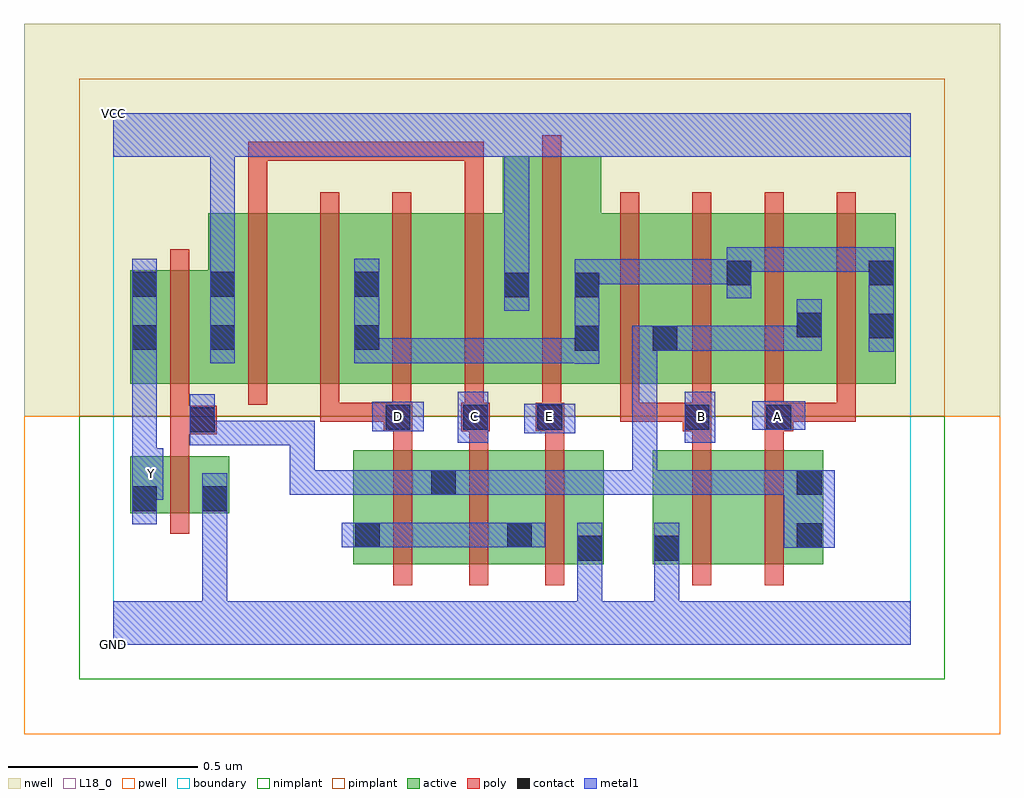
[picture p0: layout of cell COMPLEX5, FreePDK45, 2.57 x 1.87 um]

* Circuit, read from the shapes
.subckt COMPLEX5 A B C D E GND VCC Y
M1 GND n1 Y VSUBS nfet w=0.15u l=0.05u
M2 n1 D n2 VSUBS nfet w=0.3u l=0.05u
M3 n2 C n1 VSUBS nfet w=0.3u l=0.05u
M4 GND E n2 VSUBS nfet w=0.3u l=0.05u
M5 n3 B GND VSUBS nfet w=0.3u l=0.05u
M6 n1 A n3 VSUBS nfet w=0.3u l=0.05u
M7 VCC n1 Y n4 pfet w=0.3u l=0.05u
M8 n5 C VCC n4 pfet w=0.45u l=0.05u
M9 n6 D n5 n4 pfet w=0.45u l=0.05u
M10 n7 D n6 n4 pfet w=0.45u l=0.05u
M11 VCC C n7 n4 pfet w=0.45u l=0.05u
M12 n6 E VCC n4 pfet w=0.6u l=0.05u
M13 n1 B n6 n4 pfet w=0.45u l=0.05u m=2
M14 n1 A n6 n4 pfet w=0.45u l=0.05u m=2
.ends

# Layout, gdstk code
import gdstk
lib = gdstk.Library(unit=1e-6, precision=1e-09)
def R(c, l, rs):  # rectangles x0, y0, x1, y1
    for r in rs: c.add(gdstk.rectangle(r[:2], r[2:], *l))
def A(c, l, x, y, w, h, nx, ny, dx, dy):  # array of equal rectangles
    R(c, l, [(x+i*dx, y+j*dy, x+i*dx+w, y+j*dy+h) for i in range(nx) for j in range(ny)])
active = (1, 0)
pwell = (2, 0)
nwell = (3, 0)
nimplant = (4, 0)
pimplant = (5, 0)
poly = (9, 0)
contact = (10, 0)
metal1 = (11, 0)
L18_0 = (18, 0)
boundary = (235, 0)

complex5 = lib.new_cell('COMPLEX5')
R(complex5, active, [(0.632,0.212,0.907,0.512), (0.832,0.212,1.107,0.512), (1.032,0.212,1.292,0.512), (1.032,0.212,1.107,0.392), (1.217,0.212,1.292,0.512), (1.42,0.212,1.645,0.512), (1.42,0.212,1.495,0.512), (1.645,0.212,1.87,0.512), (0.632,0.247,0.707,0.512), (0.832,0.247,0.907,0.465), (1.795,0.247,1.87,0.512), (0.045,0.347,0.12,0.497), (0.045,0.347,0.305,0.497), (0.23,0.347,0.305,0.497), (0.045,0.687,0.12,0.987), (0.045,0.687,0.325,0.987), (0.25,0.687,0.475,1.137), (0.25,0.687,0.325,1.137), (0.475,0.687,0.705,1.137), (0.63,0.687,0.855,1.137), (0.63,0.687,0.705,1.137), (0.855,0.687,1.1,1.137), (1.025,0.687,1.285,1.287), (1.21,0.687,1.49,1.137), (1.21,0.687,1.285,1.2), (1.415,0.687,1.49,1.07), (1.415,0.687,1.685,1.137), (1.61,0.687,1.87,1.137), (1.795,0.687,2.06,1.137), (1.795,0.687,1.87,1.07), (1.985,0.687,2.06,1.107), (1.025,0.722,1.1,1.107), (1.61,0.857,1.685,1.107)])
R(complex5, pwell, [(-0.235,-0.235,2.335,0.602)])
R(complex5, nwell, [(-0.235,0.602,2.335,1.635)])
R(complex5, nimplant, [(-0.09,-0.09,2.19,0.602)])
R(complex5, pimplant, [(-0.09,0.602,2.19,1.49)])
A(complex5, poly, 0.737, 0.157, 0.05, 0.41, 3, 1, 0.2, 0)
A(complex5, poly, 0.737, 0.517, 0.05, 0.095, 3, 1, 0.2, 0)
A(complex5, poly, 0.545, 0.587, 0.05, 0.095, 3, 1, 0.19, 0)
A(complex5, poly, 1.335, 0.587, 0.05, 0.095, 4, 1, 0.19, 0)
A(complex5, poly, 0.355, 0.632, 0.05, 0.56, 4, 1, 0.19, 0)
A(complex5, poly, 1.335, 0.632, 0.05, 0.56, 4, 1, 0.19, 0)
R(complex5, poly, [(1.525,0.157,1.575,0.567), (1.715,0.157,1.765,0.567), (0.15,0.292,0.2,0.552), (0.15,0.502,0.2,0.605), (1.525,0.517,1.575,0.612), (1.715,0.517,1.765,0.612), (0.15,0.555,0.272,0.63), (0.712,0.562,0.787,0.637), (0.917,0.562,0.992,0.637), (1.112,0.562,1.187,0.637), (1.5,0.562,1.575,0.637), (1.715,0.562,1.79,0.637), (0.15,0.58,0.2,0.682), (0.545,0.587,0.595,0.637), (0.545,0.587,0.762,0.637), (0.712,0.587,0.762,0.637), (0.712,0.587,0.762,0.637), (1.13,0.587,1.18,0.682), (1.335,0.587,1.385,0.637), (1.335,0.587,1.55,0.637), (1.5,0.587,1.55,0.637), (1.5,0.587,1.55,0.637), (1.74,0.587,1.955,0.637), (1.905,0.587,1.955,0.637), (1.905,0.587,1.955,0.637), (1.905,0.587,1.955,0.637), (0.15,0.632,0.2,1.042), (1.13,0.632,1.18,1.342), (0.355,1.142,0.405,1.325), (0.925,1.142,0.975,1.325), (0.355,1.275,0.405,1.325), (0.355,1.275,0.537,1.325), (0.487,1.275,0.537,1.325), (0.487,1.275,0.537,1.325), (0.487,1.275,0.537,1.325), (0.487,1.275,0.835,1.325), (0.785,1.275,0.835,1.325), (0.785,1.275,0.835,1.325), (0.785,1.275,0.835,1.325), (0.785,1.275,0.975,1.325), (0.925,1.275,0.975,1.325), (0.925,1.275,0.975,1.325), (0.925,1.275,0.975,1.325)])
R(complex5, contact, [(1.222,0.222,1.287,0.287), (1.425,0.222,1.49,0.287), (1.8,0.255,1.865,0.32), (0.637,0.257,0.702,0.322), (1.037,0.257,1.102,0.322), (0.05,0.352,0.115,0.417), (0.235,0.352,0.3,0.417), (0.837,0.395,0.902,0.46), (1.8,0.395,1.865,0.46), (0.202,0.56,0.267,0.625), (0.717,0.567,0.782,0.632), (0.922,0.567,0.987,0.632), (1.117,0.567,1.182,0.632), (1.505,0.567,1.57,0.632), (1.72,0.567,1.785,0.632), (1.215,0.775,1.28,0.84), (1.42,0.775,1.485,0.84), (0.05,0.777,0.115,0.842), (0.255,0.777,0.32,0.842), (0.635,0.777,0.7,0.842), (1.99,0.807,2.055,0.872), (1.8,0.81,1.865,0.875), (1.03,0.915,1.095,0.98), (1.215,0.915,1.28,0.98), (0.05,0.917,0.115,0.982), (0.255,0.917,0.32,0.982), (0.635,0.917,0.7,0.982), (1.615,0.947,1.68,1.012), (1.99,0.947,2.055,1.012)])
R(complex5, metal1, [(0,0,2.1,0.115), (0.235,0.05,0.3,0.115), (0.235,0.05,0.3,0.115), (0.235,0.05,0.3,0.382), (1.222,0.05,1.287,0.252), (1.425,0.05,1.49,0.115), (1.425,0.05,1.49,0.115), (1.425,0.05,1.49,0.252), (1.222,0.187,1.287,0.252), (1.222,0.187,1.287,0.252), (1.222,0.187,1.287,0.322), (1.425,0.187,1.49,0.322), (1.765,0.255,1.9,0.46), (0.602,0.257,0.737,0.322), (0.672,0.257,0.737,0.322), (0.672,0.257,0.737,0.322), (0.672,0.257,0.93,0.322), (0.865,0.257,0.93,0.322), (0.865,0.257,0.93,0.322), (0.865,0.257,0.93,0.322), (0.865,0.257,1.067,0.322), (1.002,0.257,1.137,0.322), (0.05,0.317,0.115,0.452), (0.235,0.317,0.3,0.382), (0.235,0.317,0.3,0.382), (0.235,0.317,0.3,0.452), (0.05,0.382,0.132,0.517), (0.05,0.387,0.115,0.452), (0.465,0.395,0.53,0.46), (0.465,0.395,0.542,0.46), (0.465,0.395,0.53,0.59), (0.477,0.395,0.542,0.46), (0.477,0.395,0.73,0.46), (0.665,0.395,0.73,0.46), (0.665,0.395,0.73,0.46), (0.665,0.395,0.73,0.46), (0.665,0.395,0.867,0.46), (0.802,0.395,0.937,0.46), (0.872,0.395,0.937,0.46), (0.872,0.395,0.937,0.46), (0.872,0.395,1.142,0.46), (1.077,0.395,1.142,0.46), (1.077,0.395,1.142,0.46), (1.077,0.395,1.142,0.46), (1.077,0.395,1.28,0.46), (1.215,0.395,1.28,0.46), (1.215,0.395,1.28,0.46), (1.215,0.395,1.28,0.46), (1.215,0.395,1.432,0.46), (1.367,0.395,1.432,0.46), (1.367,0.395,1.432,0.46), (1.367,0.395,1.432,0.46), (1.367,0.395,1.657,0.46), (1.367,0.395,1.432,0.84), (1.592,0.395,1.657,0.46), (1.592,0.395,1.83,0.46), (1.765,0.395,1.83,0.46), (1.765,0.395,1.83,0.46), (0.05,0.452,0.115,0.807), (0.202,0.525,0.267,0.66), (0.202,0.525,0.392,0.59), (0.327,0.525,0.392,0.59), (0.327,0.525,0.405,0.59), (0.34,0.525,0.405,0.59), (0.34,0.525,0.53,0.59), (0.465,0.525,0.53,0.59), (0.907,0.532,0.987,0.667), (1.505,0.532,1.585,0.667), (1.082,0.557,1.217,0.635), (0.682,0.562,0.817,0.64), (1.682,0.567,1.822,0.642), (1.215,0.74,1.28,1.015), (0.05,0.742,0.115,1.017), (0.255,0.742,0.32,1.017), (0.635,0.742,0.7,0.807), (0.635,0.742,0.7,0.807), (0.635,0.742,0.7,1.017), (0.635,0.742,0.93,0.807), (0.865,0.742,0.93,0.807), (0.865,0.742,0.93,0.807), (0.865,0.742,0.93,0.807), (0.865,0.742,1.142,0.807), (1.077,0.742,1.142,0.807), (1.077,0.742,1.142,0.807), (1.077,0.742,1.142,0.807), (1.077,0.742,1.28,0.807), (1.99,0.772,2.055,1.047), (1.367,0.775,1.432,0.84), (1.367,0.775,1.432,0.84), (1.367,0.775,1.52,0.84), (1.455,0.775,1.52,0.84), (1.455,0.775,1.52,0.84), (1.455,0.775,1.692,0.84), (1.627,0.775,1.692,0.84), (1.627,0.775,1.865,0.84), (1.8,0.775,1.865,0.84), (1.8,0.775,1.865,0.84), (1.8,0.775,1.865,0.91), (1.03,0.88,1.095,1.015), (1.615,0.912,1.68,1.047), (1.03,0.95,1.095,1.35), (1.215,0.95,1.28,1.015), (1.215,0.95,1.28,1.015), (1.215,0.95,1.28,1.015), (1.215,0.95,1.28,1.015), (1.215,0.95,1.425,1.015), (1.36,0.95,1.425,1.015), (1.36,0.95,1.425,1.015), (1.36,0.95,1.425,1.015), (1.36,0.95,1.68,1.015), (0.255,0.952,0.32,1.35), (1.615,0.982,1.68,1.047), (1.615,0.982,1.68,1.047), (1.615,0.982,1.83,1.047), (1.765,0.982,1.83,1.047), (1.765,0.982,2.055,1.047), (1.99,0.982,2.055,1.047), (1.99,0.982,2.055,1.047), (0,1.285,2.1,1.4), (0.255,1.285,0.32,1.35), (0.255,1.285,0.32,1.35)])
A(complex5, L18_0, 0.717, 0.567, 0.065, 0.065, 3, 1, 0.2, 0)
R(complex5, L18_0, [(0,0,2.1,0.115), (0.235,0.05,0.3,0.115), (0.235,0.05,0.3,0.115), (0.235,0.05,0.3,0.382), (1.222,0.05,1.287,0.252), (1.425,0.05,1.49,0.115), (1.425,0.05,1.49,0.115), (1.425,0.05,1.49,0.252), (1.222,0.187,1.287,0.322), (1.222,0.187,1.287,0.252), (1.222,0.187,1.287,0.252), (1.425,0.187,1.49,0.322), (0.05,0.317,0.115,0.452), (0.235,0.317,0.3,0.452), (0.235,0.317,0.3,0.382), (0.235,0.317,0.3,0.382), (0.05,0.382,0.132,0.517), (0.05,0.387,0.115,0.452), (0.067,0.417,0.132,0.482), (0.05,0.452,0.115,0.807), (0.907,0.532,0.987,0.667), (1.505,0.532,1.585,0.667), (1.082,0.557,1.217,0.635), (0.682,0.562,0.817,0.64), (1.517,0.567,1.582,0.632), (1.682,0.567,1.822,0.642), (1.717,0.567,1.782,0.632), (0.05,0.742,0.115,1.017), (0.255,0.742,0.32,1.017), (1.03,0.88,1.095,1.015), (1.03,0.95,1.095,1.35), (0.255,0.952,0.32,1.35), (0,1.285,2.1,1.4), (0.255,1.285,0.32,1.35), (0.255,1.285,0.32,1.35)])
R(complex5, boundary, [(0,0,2.1,1.4)])
complex5.add(gdstk.Label('A', (1.75,0.6), layer=11, texttype=0))
complex5.add(gdstk.Label('B', (1.55,0.6), layer=11, texttype=0))
complex5.add(gdstk.Label('C', (0.95,0.6), layer=11, texttype=0))
complex5.add(gdstk.Label('D', (0.75,0.6), layer=11, texttype=0))
complex5.add(gdstk.Label('E', (1.15,0.6), layer=11, texttype=0))
complex5.add(gdstk.Label('Y', (0.1,0.45), layer=11, texttype=0))
complex5.add(gdstk.Label('VCC', (0,1.4), layer=11, texttype=0))
complex5.add(gdstk.Label('GND', (0,0), layer=11, texttype=0))

lib.write_gds('COMPLEX5.gds')
